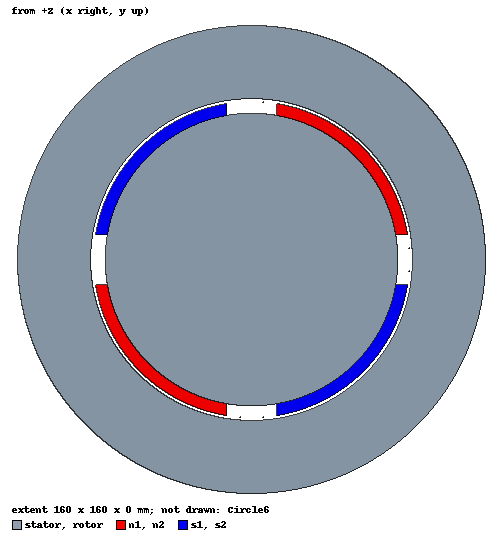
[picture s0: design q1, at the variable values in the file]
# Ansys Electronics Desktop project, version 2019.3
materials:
  vacuum: permittivity=1
  M15_29G: permeability{HUnit=A_per_meter BUnit=tesla curve (0, 0) (63.662, 0.6) (71.62, 0.71) (79.577, 0.8) (159.155, 1.22) (238.732, 1.32) (318.31, 1.375) (397.887, 1.41) (477.465, 1.43) (557.042, 1.45) (636.62, 1.46) (716.197, 1.475) (795.775, 1.48) (1591.55, 1.54) (2387.32, 1.59) (3183.1, 1.63) (3978.87, 1.65) (4774.65, 1.68) (5570.42, 1.7) (6366.2, 1.72) (7161.97, 1.74) (7957.75, 1.76) (15915.5, 1.875) (23873.2, 1.96) (27852.1, 2)} conductivity=1960000 core_loss_type="Electrical Steel" core_loss_kh=138.7 core_loss_kc=0.409 mass_density=7650
  M27_29G: permeability{HUnit=A_per_meter BUnit=tesla curve (0, 0) (120, 0.8) (200, 1) (280, 1.1) (400, 1.2) (503, 1.325) (767, 1.375) (1215, 1.425) (1895, 1.475) (2900, 1.525) (4265, 1.575) (6063.5, 1.63) (7938.5, 1.68) (9918.5, 1.725) (13244.2, 1.785) (16732.3, 1.835) (20185.6, 1.875) (26135.6, 1.925) (35685.6, 1.975) (59685.6, 2.025) (97685.6, 2.075)} conductivity=2000000 core_loss_type="Electrical Steel" core_loss_kh=196.8 core_loss_kc=0.417 mass_density=7650
  NdFe42: CoordinateSystemType=Cylindrical permittivity=1 permeability=1.05 conductivity=625000 magnetic_coercivity{Magnitude=-995000A_per_meter DirComp1=1 DirComp2=0 DirComp3=0} lande_g_factor=2 mass_density=7550
  NdFe42s: CoordinateSystemType=Cylindrical permittivity=1 permeability=1.05 conductivity=625000 magnetic_coercivity{Magnitude=-995000A_per_meter DirComp1=-1 DirComp2=0 DirComp3=0} lande_g_factor=2 mass_density=7550
  M19_29G: permeability{HUnit=A_per_meter BUnit=tesla curve (0, 0) (22.28, 0.05) (25.46, 0.1) (31.83, 0.15) (47.74, 0.36) (63.66, 0.54) (79.57, 0.65) (159.15, 0.99) (318.3, 1.2) (477.46, 1.28) (636.61, 1.33) (795.77, 1.36) (1591.5, 1.44) (3183, 1.52) (4774.6, 1.58) (6366.1, 1.63) (7957.7, 1.67) (15915, 1.8) (31830, 1.9) (111407, 2) (190984, 2.1) (350138, 2.3) (509292, 2.5)} conductivity=1960000 core_loss_type="Electrical Steel" core_loss_kh=164.2 core_loss_kc=0.409 mass_density=7650

design q1 (Maxwell 2D, Magnetostatic, XY geometry, model units mm)
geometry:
  rotor [M27_29G] = circle(normal=Z, centre=(0mm, 0mm, 0mm), radius=50mm)
  stator [M27_29G] = circle(normal=Z, centre=(0mm, 0mm, 0mm), radius=80mm)
  Circle3 = circle(normal=Z, centre=(0mm, 0mm, 0mm), radius=55mm)
  stator.subtract(Circle3)
  n1 [NdFe42] = circle(normal=Z, centre=(0mm, 0mm, 0mm), radius=54mm)
  Circle5 = circle(normal=Z, centre=(0mm, 0mm, 0mm), radius=50mm)
  n1.subtract(Circle5)
  Polyline3 = polyline(z=0mm, xy in mm: (-8.4474611, 53.33517) (3.5527137e-15, 54) (8.4474611, 53.33517), AngularArc from point 0 over 3 centre=(0mm, 0mm, 0mm) angle=-18deg plane=XY)
  Polyline3.sweep_along_vector((0mm, -4mm, 0mm))
  Polyline3.duplicate_around_axis(axis=Z, angle=180deg, total=2, attached)
  n1.subtract(Polyline3)
  Rectangle1 = rectangle(corner=(-8.4474611mm, 53.33517mm, 0mm), x_size=16.894922mm, y_size=-104.67034mm)
  n1.subtract(Rectangle1)
  Polyline4 = polyline(z=0mm, xy in mm: (53.33517, 8.4474611) (54, 8.8817842e-15) (53.33517, -8.4474611), AngularArc from point 0 over 3 centre=(0mm, 0mm, 0mm) angle=-18deg plane=XY)
  Polyline4.sweep_along_vector((-6mm, 0mm, 0mm))
  Polyline4.duplicate_around_axis(axis=Z, angle=180deg, total=2, attached)
  n1.subtract(Polyline4)
  n1.split(plane=YZ, keep=PositiveOnly)
  n1.split(plane=ZX, keep=PositiveOnly)
  s1 [NdFe42s], n2 [NdFe42], s2 [NdFe42s] = n1.duplicate_around_axis(axis=Z, angle=90deg, total=4)
  Circle6 [vacuum] = circle(normal=Z, centre=(0mm, 0mm, 0mm), radius=120mm)
  Polyline5 [non-model] = polyline(z=0mm, xy in mm: (54.5, 0) (3.3371625e-15, 54.5) (-54.5, 6.6743251e-15), AngularArc from point 0 over 3 centre=(0mm, 0mm, 0mm) angle=180deg plane=XY)
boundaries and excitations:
  VectorPotential1: Vector Potential Edges=Circle6.edge(1 of 1) Value=0
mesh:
  initial mesh: MeshMethod=AnsoftTAU
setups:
  Setup1: Magnetostatic MaximumPasses=10 MinimumPasses=3 MinimumConvergedPasses=2 PercentRefinement=30 PercentError=1 NonLinearResidual=1e-07
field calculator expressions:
  bvec = Fundamental_Quantity(22)
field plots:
  Mag_B1, B_Vector1: B over rotor, stator, n1, s1, n2, s2, Circle6 on Setup1 : LastAdaptive
  Mesh1: MeshPlots over rotor, stator, n1, s1, n2, s2, Circle6 on Setup1 : LastAdaptive
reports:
  Air-gap Flux Density Distribution: Mag_B vs Distance on Setup1 : LastAdaptive

design q3 (RMxprt, Adjust-Speed Synchronous Machine, model units mm)
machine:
  Machine: FrictionLoss=50W WindLoss=50W ReferenceSpeed=1500rpm NumberOfPoles=4 RotorPosition=true ControlType=3 CircuitType=Y3
  Circuit: TriggerPulseWidth=120deg TransistorDrop=0V DiodeDrop=0V ModulationIndex=0 CarrierFrequencyTimes=0
  Stator: SkewWidth=0 NumberOfSlots=24 LaminationSectors=0 PressBoardThickness=0mm OuterDiameter=160mm InnerDiameter=59mm Length=100mm StackingFactor=0.95 SteelType=M19_29G SlotType=4
  Rotor: OuterDiameter=57mm InnerDiameter=30mm Length=100mm SteelType=M19_29G PoleType=1 StackingFactor=0.95
  Shaft: MagneticShaft
  Stator Slot: Hs0=1mm Hs1=0mm Hs2=34mm Bs0=4mm Bs1=0mm Bs2=0mm Rs=0mm ParallelTooth ToothWidth=3.9mm
  Stator Winding: WindingType=Half-Coiled WindingLayers=1 ParallelBranches=1 ConductorsPerSlot=390 CoilPitch=0 EndAdjustment=0mm BaseInnerRadius=0mm TipInnerDiameter=0mm EndClearance=0mm CoilWrap=0mm SlotLiner=0mm WedgeThickness=0mm LayerInsulation=0mm BottomInsulation=0mm LimitedFillFactor=0.75 WdgNumberofPriodicMultipler=1 NumberOfStrands=1 WireWrap=0mm InterturnInsulation=0mm WireDiameter=0.813mm WireWidth=0mm WireThickness=0mm Gauge=20
  Rotor Pole: Embrace=0.8 Offset=0mm ShaftDiameter=0mm Bridge=0mm Rib=0mm MagnetThickness=4mm MagnetWidth=0mm MagnetType=NdFe42
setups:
  Setup1: ASSM Motor RatedOutputPower=5700W RatedVoltage="1000*sqrt(3) V" RatedSpeed=1500rpm OperatingTemperature=75cel LoadType=ConstPower RatedPowerFactor=0.75
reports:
  Flux Density Plot 1: AirGapFluxDensity vs ElectricalDegree on Setup1 : Performance
